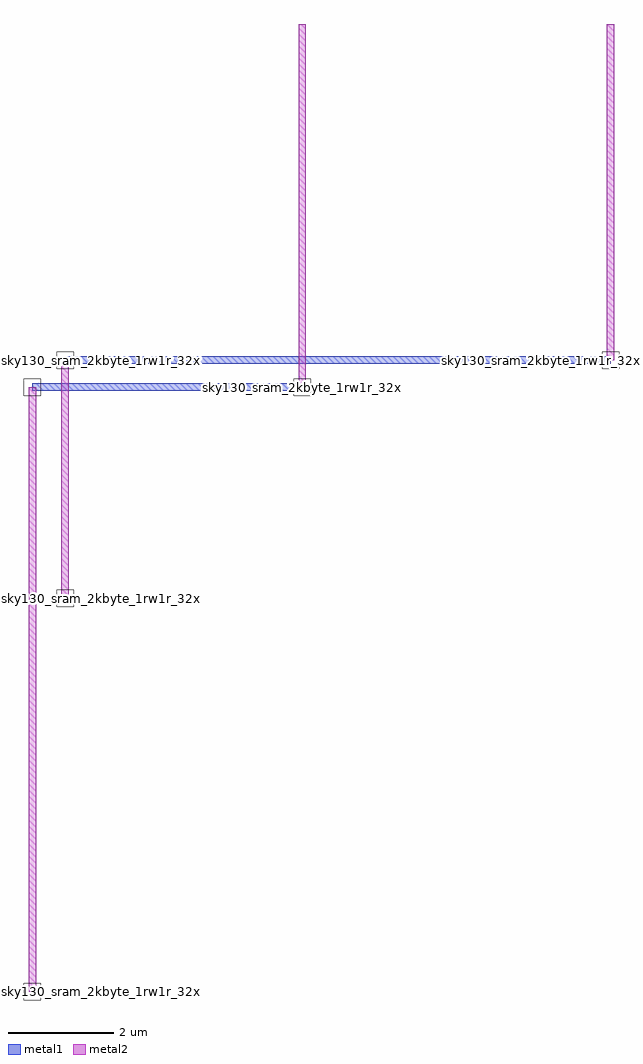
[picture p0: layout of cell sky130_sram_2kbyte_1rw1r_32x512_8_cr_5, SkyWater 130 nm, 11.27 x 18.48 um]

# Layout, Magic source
magic
tech sky130A
magscale 1 2
<< metal1 >>
rect 101921 69445 103987 69473
rect 101797 69343 102819 69371
<< metal2 >>
rect 101783 67068 101811 69357
rect 101907 68558 101935 69459
rect 102805 69357 102833 70732
rect 103973 69459 104001 70732
use sky130_sram_2kbyte_1rw1r_32x512_8_contact_19  sky130_sram_2kbyte_1rw1r_32x512_8_contact_19_0
transform 1 0 103955 0 1 69427
box 0 0 64 64
use sky130_sram_2kbyte_1rw1r_32x512_8_contact_19  sky130_sram_2kbyte_1rw1r_32x512_8_contact_19_1
transform 1 0 101889 0 1 68526
box 0 0 64 64
use sky130_sram_2kbyte_1rw1r_32x512_8_contact_19  sky130_sram_2kbyte_1rw1r_32x512_8_contact_19_2
transform 1 0 101889 0 1 69427
box 0 0 64 64
use sky130_sram_2kbyte_1rw1r_32x512_8_contact_19  sky130_sram_2kbyte_1rw1r_32x512_8_contact_19_3
transform 1 0 102787 0 1 69325
box 0 0 64 64
use sky130_sram_2kbyte_1rw1r_32x512_8_contact_19  sky130_sram_2kbyte_1rw1r_32x512_8_contact_19_4
transform 1 0 101765 0 1 67036
box 0 0 64 64
use sky130_sram_2kbyte_1rw1r_32x512_8_contact_19  sky130_sram_2kbyte_1rw1r_32x512_8_contact_19_5
transform 1 0 101765 0 1 69325
box 0 0 64 64
<< properties >>
string FIXED_BBOX 101765 67036 104019 70732
<< end >>
